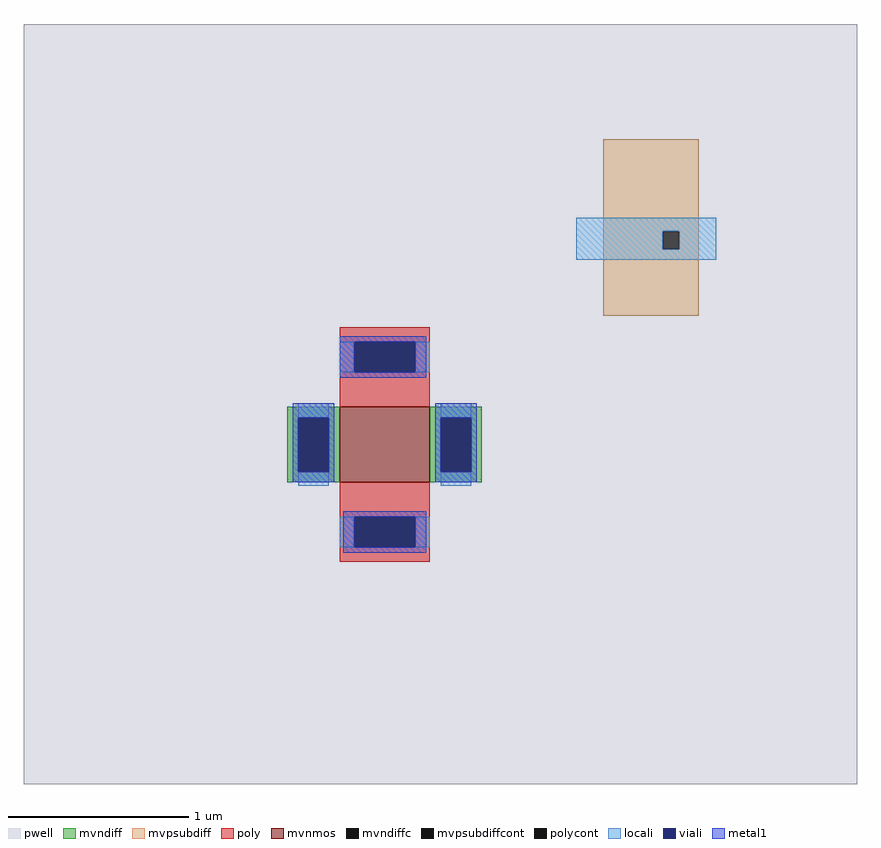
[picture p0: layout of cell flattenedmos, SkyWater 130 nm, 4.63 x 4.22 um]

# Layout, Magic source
magic
tech sky130A
magscale 1 2
<< pwell >>
rect 19634 -5518 20560 -4674
<< mvnmos >>
rect 19985 -5183 20085 -5099
<< mvndiff >>
rect 19927 -5111 19985 -5099
rect 19927 -5171 19939 -5111
rect 19973 -5171 19985 -5111
rect 19927 -5183 19985 -5171
rect 20085 -5111 20143 -5099
rect 20085 -5171 20097 -5111
rect 20131 -5171 20143 -5111
rect 20085 -5183 20143 -5171
<< mvndiffc >>
rect 19939 -5171 19973 -5111
rect 20097 -5171 20131 -5111
<< mvpsubdiff >>
rect 20278 -4904 20384 -4802
rect 20278 -4924 20344 -4904
rect 20362 -4924 20384 -4904
rect 20278 -4998 20384 -4924
<< mvpsubdiffcont >>
rect 20344 -4924 20362 -4904
<< poly >>
rect 19985 -5027 20085 -5011
rect 19985 -5061 20001 -5027
rect 20069 -5061 20085 -5027
rect 19985 -5099 20085 -5061
rect 19985 -5221 20085 -5183
rect 19985 -5255 20001 -5221
rect 20069 -5255 20085 -5221
rect 19985 -5271 20085 -5255
<< polycont >>
rect 20001 -5061 20069 -5027
rect 20001 -5255 20069 -5221
<< locali >>
rect 20248 -4904 20403 -4889
rect 20248 -4924 20344 -4904
rect 20362 -4924 20403 -4904
rect 20248 -4936 20403 -4924
rect 19985 -5061 20001 -5027
rect 20069 -5061 20085 -5027
rect 19939 -5111 19973 -5095
rect 19939 -5187 19973 -5171
rect 20097 -5111 20131 -5095
rect 20097 -5187 20131 -5171
rect 19985 -5255 20001 -5221
rect 20069 -5255 20085 -5221
<< viali >>
rect 20001 -5061 20069 -5027
rect 19939 -5171 19973 -5111
rect 20097 -5171 20131 -5111
rect 20001 -5255 20069 -5221
<< metal1 >>
rect 19985 -5027 20081 -5021
rect 19985 -5061 20001 -5027
rect 20069 -5061 20081 -5027
rect 19985 -5067 20081 -5061
rect 19933 -5111 19979 -5095
rect 19933 -5171 19939 -5111
rect 19973 -5171 19979 -5111
rect 19933 -5183 19979 -5171
rect 20091 -5111 20137 -5095
rect 20091 -5171 20097 -5111
rect 20131 -5171 20137 -5111
rect 20091 -5183 20137 -5171
rect 19989 -5221 20081 -5215
rect 19989 -5255 20001 -5221
rect 20069 -5255 20081 -5221
rect 19989 -5261 20081 -5255
<< end >>
